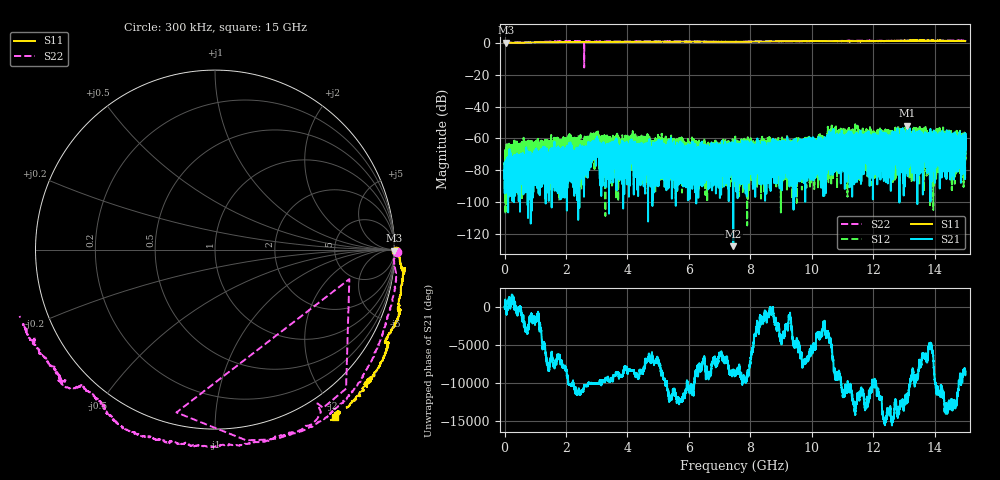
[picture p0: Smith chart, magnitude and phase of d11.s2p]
!Agilent Technologies,N5230C,SG49000117,A.08.50.07
!Agilent N5230C: A.08.50.07
!Date: Friday, May 17, 2024 07:57:24
!Correction: S11(Full 2 Port(1,2))
!S21(Full 2 Port(1,2))
!S12(Full 2 Port(1,2))
!S22(Full 2 Port(1,2))
!S2P File: Measurements: S11, S21, S12, S22:
# Hz S  MA  R 50
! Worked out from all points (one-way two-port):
!   20001 points, 300 kHz to 15 GHz, reference 50 ohm
!   highest |S21| = -52.04 dB at 13.1 GHz (marker M1); lowest = -127.6 dB at 7.444 GHz (marker M2)
!   lowest |S11| = 0.0 dB at 41.55 MHz (marker M3)
!   |S11| at or under -10 dB: nowhere
!   |S22| runs from -15.5 to 1.4 dB; largest |S21 - S12| = 0.0035
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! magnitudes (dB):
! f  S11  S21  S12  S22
! 300 kHz  0.1  -80.7  -75.2  0.1
! 41.55 MHz  0.0  -74.2  -83.2  0.0
! 1.82 GHz  0.4  -66.8  -68.5  0.9
! 2.146 GHz  0.5  -68.3  -67.3  0.9
! 2.251 GHz  0.5  -70.9  -66.7  1.0
! 2.501 GHz  0.5  -66.0  -62.8  1.0
! 2.973 GHz  0.5  -69.3  -69.8  0.8
! 3.337 GHz  0.5  -75.3  -64.0  0.8
! 3.623 GHz  0.5  -65.3  -68.3  0.8
! 4 GHz  0.6  -65.4  -68.2  0.8
! 4.153 GHz  0.6  -64.0  -58.6  0.7
! 4.354 GHz  0.6  -76.2  -64.6  0.8
! 5 GHz  0.7  -90.1  -63.1  0.9
! 6.278 GHz  0.7  -73.0  -71.5  0.8
! 7.444 GHz  0.6  -127.6  -70.8  0.6
! 7.5 GHz  0.7  -67.4  -64.3  0.5
! 10 GHz  1.0  -62.3  -60.0  1.0
! 10.42 GHz  1.1  -66.9  -67.6  1.0
! 10.62 GHz  1.0  -71.2  -69.5  1.1
! 12.5 GHz  1.2  -62.2  -56.5  1.2
! 13.1 GHz  1.3  -52.0  -60.9  1.2
! 15 GHz  1.1  -62.8  -68.4  1.4
